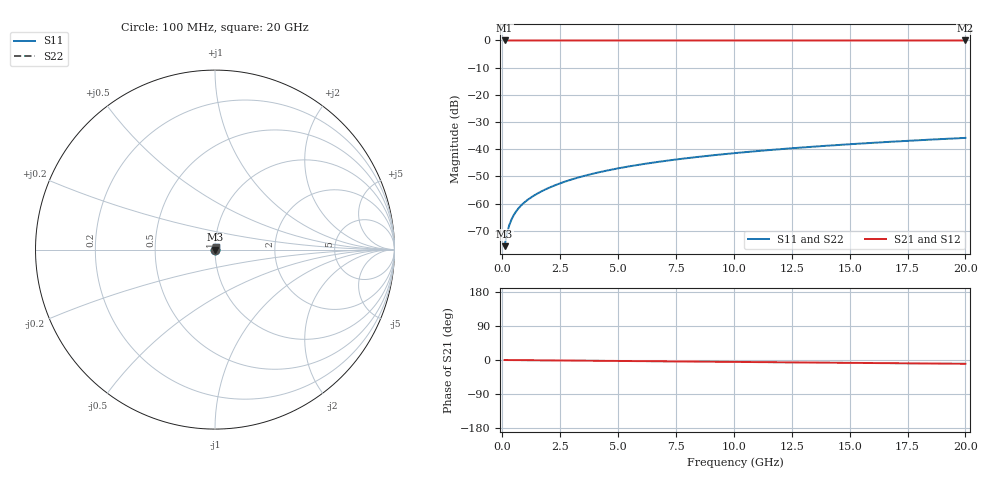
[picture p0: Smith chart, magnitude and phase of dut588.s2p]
! Touchstone file exported from HFSS 2026.1.0
!  File:  C:/ffzhzh/LocalFiles/Ansys_Project_Files/temp_train_TSV_588_1783025162_53980.aedt
!  Generated:  04:47:44 AM Jul  3, 2026
!  Design:  TSV
!  Project:  temp_train_TSV_588_1783025162_53980
! Variables:
!  h_bsmrdl = 2um
!  h_ox = 20um
!  h_rdl = 5um
!  h_sub = 99.65um
!  h_tmrdl = 5um
!  h_tsv = 99.65um
!  h_via = 3um
!  l_bsmrdl = 300um
!  l_sub = 425.68um
!  l_tmrdl = 200um
!  m_sub = 200um
!  pitch = 57.17um
!  r_tsv = 12.84um
!  s_tmrdl = 10um
!  w_bsmrdl = 18um
!  w_sub = 500um
!  w_tmrdl = 12um
!  x_tsv_center1 = 206um
!  x_tsv_center2 = 524um
!  x_tsv_center3 = 736um
!  x_tsv_center4 = 1054um
!  x_tsv_center5 = 1266um
!  x_tsv_center6 = 1584um
# GHz S MA R 50.000000
! Terminal data exported
! Port[1] = TSV1_1_T1
! Port[2] = TSV1_1_T2
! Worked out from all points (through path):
!   200 points, 100 MHz to 20 GHz, reference 50 ohm
!   highest |S21| = 0.00 dB at 100 MHz (marker M1); lowest = 0.0 dB at 20 GHz (marker M2)
!   group delay of S21, straight-line fit = 1.39 ps
!   lowest |S11| = -75.7 dB at 100 MHz (marker M3), VSWR 1.00, Z = 50 + j0.0129 ohm
!   |S11| at or under -10 dB: start of sweep to end of sweep
!   |S22| runs from -75.7 to -35.8 dB; largest |S21 - S12| = 2.1e-15
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0.1  0.0001645 51.9  0.9999 -0.1  0.9999 -0.1  0.0001645 51.9
! Gamma 0 0 0 0
! Port Impedance 50 0 50 0
0.2  0.0002804 65.4  0.9999 -0.1  0.9999 -0.1  0.0002804 65.4
0.3  0.0003989 69.5  0.9999 -0.2  0.9999 -0.2  0.0003989 69.5
0.4  0.0005125 71.1  0.9998 -0.2  0.9998 -0.2  0.0005125 71.1
0.5  0.0006198 71.8  0.9998 -0.3  0.9998 -0.3  0.0006198 71.8
0.6  0.0007212 72.1  0.9998 -0.3  0.9998 -0.3  0.0007212 72.1
0.7  0.0008176 72.5  0.9998 -0.4  0.9998 -0.4  0.0008176 72.5
0.9  0.001 73.1  0.9997 -0.5  0.9997 -0.5  0.001 73.1
1.1  0.001175 73.8  0.9997 -0.6  0.9997 -0.6  0.001175 73.8
1.3  0.001345 74.6  0.9997 -0.7  0.9997 -0.7  0.001345 74.6
1.6  0.001599 75.6  0.9996 -0.8  0.9996 -0.8  0.001599 75.6
1.9  0.001852 76.5  0.9996 -1.0  0.9996 -1.0  0.001852 76.5
2.6  0.002442 77.9  0.9995 -1.3  0.9995 -1.3  0.002442 77.9
3.5  0.003199 78.8  0.9995 -1.8  0.9995 -1.8  0.003199 78.8
4.2  0.003781 79.2  0.9994 -2.1  0.9994 -2.1  0.003781 79.2
5  0.004439 79.4  0.9994 -2.5  0.9994 -2.5  0.004439 79.4
6.8  0.005898 79.4  0.9992 -3.4  0.9992 -3.4  0.005898 79.4
8.3  0.007095 79.2  0.9992 -4.2  0.9992 -4.2  0.007095 79.2
10.1  0.008519 78.9  0.9991 -5.1  0.9991 -5.1  0.008519 78.9
13.4  0.0111 78.0  0.9989 -6.7  0.9989 -6.7  0.0111 78.0
16.7  0.01364 76.8  0.9988 -8.4  0.9988 -8.4  0.01364 76.8
20  0.01613 75.5  0.9986 -10.0  0.9986 -10.0  0.01613 75.5
